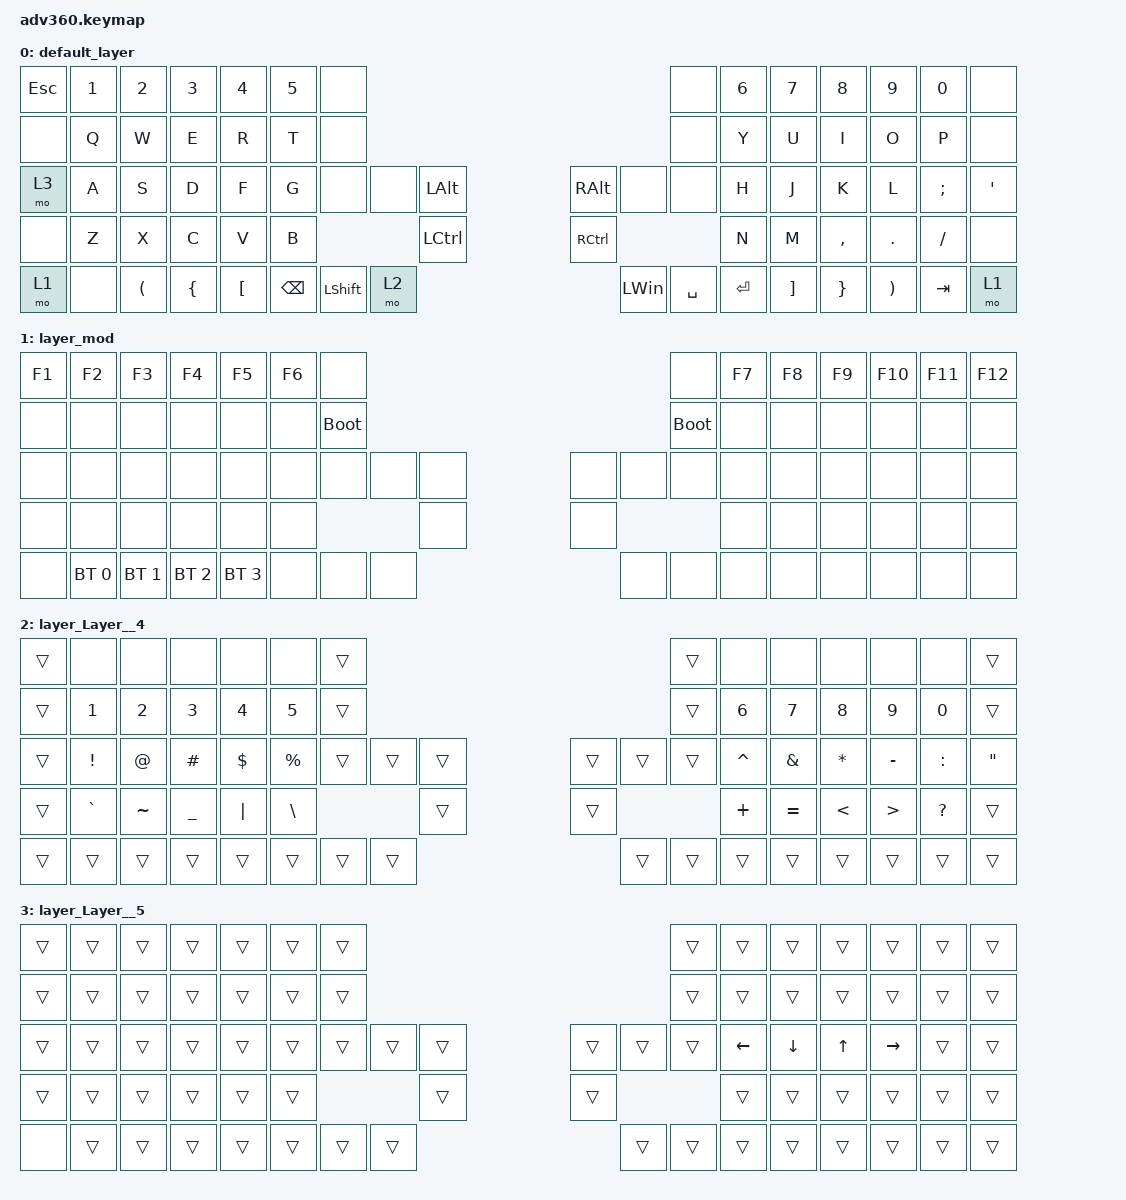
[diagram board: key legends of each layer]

/*
 * Copyright (c) 2020 The ZMK Contributors
 *
 * SPDX-License-Identifier: MIT
 */


/* THIS FILE WAS GENERATED!
 *
 * This file was generated automatically. You may or may not want to
 * edit it directly.
 */

#include <behaviors.dtsi>
#include <dt-bindings/zmk/keys.h>
#include <dt-bindings/zmk/bt.h>

/ {
  behaviors {
    #include "macros.dtsi"
    #include "version.dtsi"

    hm: homerow_mods {
        compatible = "zmk,behavior-hold-tap";
        label = "HOMEROW_MODS";
        #binding-cells = <2>;
        tapping-term-ms = <200>;
        quick_tap_ms = <175>;
        flavor = "tap-preferred";
        bindings = <&kp>, <&kp>;
    };
  };

    keymap {
        compatible = "zmk,keymap";


        default_layer {
            bindings = <
 &kp ESC  &kp N1                &kp N2          &kp N3            &kp N4  &kp N5               &none                                                                              &none  &kp N6             &kp N7           &kp N8                 &kp N9    &kp N0           &none
   &none   &kp Q                 &kp W           &kp E             &kp R   &kp T               &none                                                                              &none   &kp Y              &kp U            &kp I                  &kp O     &kp P           &none
   &mo 3   &kp A                 &kp S           &kp D             &kp F   &kp G               &none           &none  &kp LEFT_ALT                  &kp RIGHT_ALT      &none      &none   &kp H              &kp J            &kp K                  &kp L  &kp SEMI  &kp APOSTROPHE
   &none   &kp Z                 &kp X           &kp C             &kp V   &kp B                                         &kp LCTRL                      &kp RCTRL                         &kp N              &kp M        &kp COMMA                &kp DOT  &kp FSLH           &none
   &mo 1   &none  &kp LEFT_PARENTHESIS  &kp LEFT_BRACE  &kp LEFT_BRACKET                    &kp BSPC  &kp LEFT_SHIFT         &mo 2                   &kp LEFT_WIN  &kp SPACE  &kp ENTER          &kp RIGHT_BRACKET  &kp RIGHT_BRACE  &kp RIGHT_PARENTHESIS   &kp TAB           &mo 1
            >;
        };

        layer_mod {
            bindings = <
 &kp F1        &kp F2        &kp F3        &kp F4        &kp F5  &kp F6                  &none                                                        &none  &kp F7  &kp F8  &kp F9  &kp F10  &kp F11  &kp F12
  &none         &none         &none         &none         &none   &none            &bootloader                                                  &bootloader   &none   &none   &none    &none    &none    &none
  &none         &none         &none         &none         &none   &none                  &none   &none   &none                   &none   &none        &none   &none   &none   &none    &none    &none    &none
  &none         &none         &none         &none         &none   &none                                  &none                   &none                        &none   &none   &none    &none    &none    &none
  &none  &bt BT_SEL 0  &bt BT_SEL 1  &bt BT_SEL 2  &bt BT_SEL 3                          &none   &none   &none                   &none   &none        &none           &none   &none    &none    &none    &none
            >;
        };

        layer_Layer__4 {
            bindings = <
 &trans         &none         &none         &none         &none          &none            &trans                                                  &trans         &none         &none          &none             &none         &none             &trans
 &trans  &kp NUMBER_1  &kp NUMBER_2  &kp NUMBER_3  &kp NUMBER_4         &kp N5            &trans                                                  &trans  &kp NUMBER_6  &kp NUMBER_7   &kp NUMBER_8      &kp NUMBER_9  &kp NUMBER_0             &trans
 &trans      &kp EXCL        &kp AT      &kp HASH      &kp DLLR      &kp PRCNT            &trans  &trans  &trans                  &trans  &trans  &trans     &kp CARET      &kp AMPS       &kp STAR         &kp MINUS     &kp COLON  &kp DOUBLE_QUOTES
 &trans     &kp GRAVE     &kp TILDE     &kp UNDER      &kp PIPE  &kp BACKSLASH                            &trans                  &trans                      &kp PLUS     &kp EQUAL  &kp LESS_THAN  &kp GREATER_THAN  &kp QUESTION             &trans
 &trans        &trans        &trans        &trans        &trans                           &trans  &trans  &trans                  &trans  &trans  &trans                      &trans         &trans            &trans        &trans             &trans
            >;
        };

        layer_Layer__5 {
            bindings = <
 &trans  &trans  &trans  &trans  &trans  &trans            &trans                                                  &trans    &trans    &trans  &trans     &trans  &trans  &trans
 &trans  &trans  &trans  &trans  &trans  &trans            &trans                                                  &trans    &trans    &trans  &trans     &trans  &trans  &trans
 &trans  &trans  &trans  &trans  &trans  &trans            &trans  &trans  &trans                  &trans  &trans  &trans  &kp LEFT  &kp DOWN  &kp UP  &kp RIGHT  &trans  &trans
 &trans  &trans  &trans  &trans  &trans  &trans                            &trans                  &trans                    &trans    &trans  &trans     &trans  &trans  &trans
  &none  &trans  &trans  &trans  &trans                    &trans  &trans  &trans                  &trans  &trans  &trans              &trans  &trans     &trans  &trans  &trans
            >;
        };

    };
};
